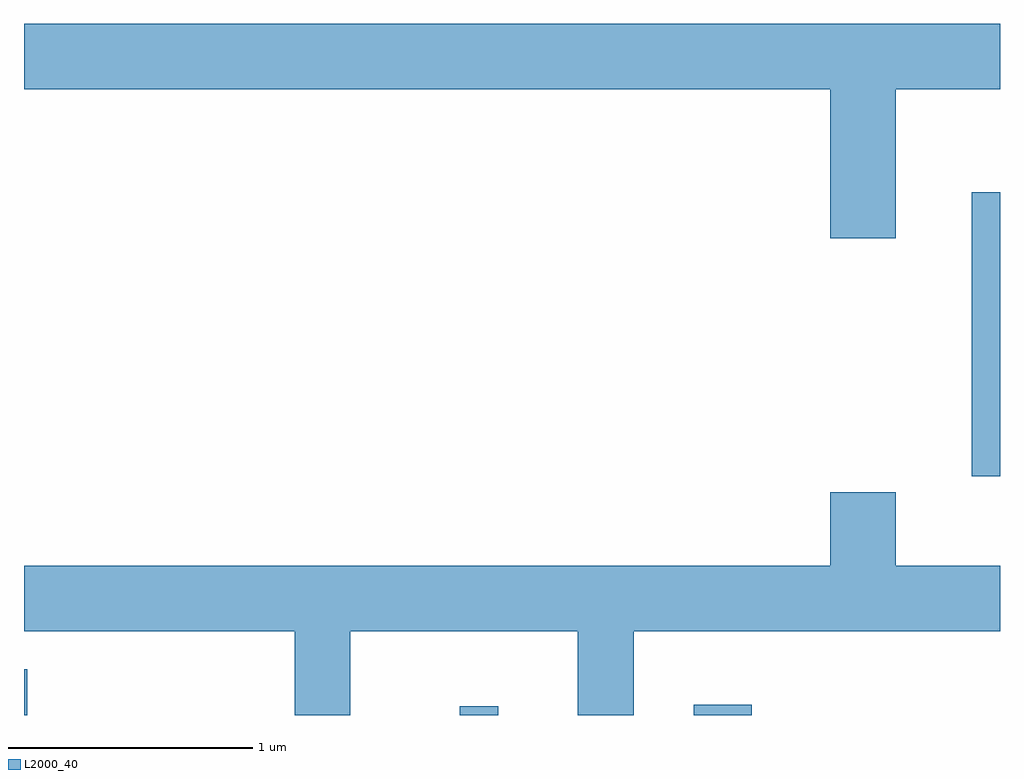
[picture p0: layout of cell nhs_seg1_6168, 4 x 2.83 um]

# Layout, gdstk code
import gdstk
lib = gdstk.Library(unit=1e-6, precision=1e-09)
def R(c, l, rs):  # rectangles x0, y0, x1, y1
    for r in rs: c.add(gdstk.rectangle(r[:2], r[2:], *l))
def P(c, l, *ps):  # polygons
    for p in ps: c.add(gdstk.Polygon(p, *l))
L2000_40 = (2000, 40)

nhs_seg1_6168 = lib.new_cell('nhs_seg1_6168')
R(nhs_seg1_6168, L2000_40, [(371.611,863.712,371.624,863.899), (373.396,863.712,373.554,863.748), (374.356,863.712,374.594,863.754), (375.496,864.691,375.611,865.854)])
P(nhs_seg1_6168, L2000_40, [(375.184,866.276),(375.611,866.276),(375.611,866.544),(371.611,866.544),(371.611,866.276),(374.916,866.276),(374.916,865.666),(375.184,865.666)],
  [(372.949,864.056),(373.881,864.056),(373.881,863.712),(374.109,863.712),(374.109,864.056),(375.611,864.056),(375.611,864.324),(375.184,864.324),(375.184,864.624),(374.916,864.624),(374.916,864.324),(371.611,864.324),(371.611,864.056),(372.721,864.056),(372.721,863.712),(372.949,863.712)])

lib.write_gds('nhs_seg1_6168.gds')
